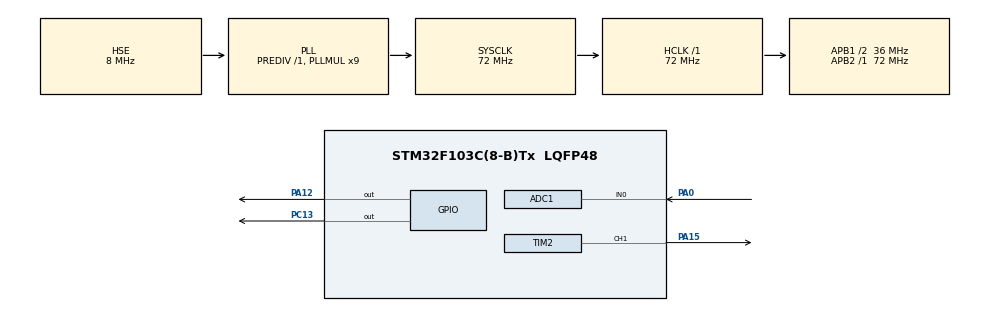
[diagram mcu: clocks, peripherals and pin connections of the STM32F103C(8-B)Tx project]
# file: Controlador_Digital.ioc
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ADC1.Channel-0\#ChannelRegularConversion=ADC_CHANNEL_0
ADC1.Channel-7\#ChannelRegularConversion=ADC_CHANNEL_0
ADC1.ContinuousConvMode=DISABLE
ADC1.DataAlign=ADC_DATAALIGN_RIGHT
ADC1.DiscontinuousConvMode=DISABLE
ADC1.EnableAnalogWatchDog=false
ADC1.EnableRegularConversion=ENABLE
ADC1.ExternalTrigConv=ADC_SOFTWARE_START
ADC1.InjNumberOfConversion=0
ADC1.NbrOfConversion=1
ADC1.NbrOfConversionFlag=1
ADC1.Rank-0\#ChannelRegularConversion=1
ADC1.Rank-7\#ChannelRegularConversion=1
ADC1.SamplingTime-0\#ChannelRegularConversion=ADC_SAMPLETIME_13CYCLES_5
ADC1.SamplingTime-7\#ChannelRegularConversion=ADC_SAMPLETIME_1CYCLE_5
ADC1.ScanConvMode=ADC_SCAN_DISABLE
ADC1.master=1
Mcu.Family=STM32F1
Mcu.Name=STM32F103C(8-B)Tx
Mcu.Package=LQFP48
NVIC.ADC1_2_IRQn=true\:0\:0\:false\:true\:true\:2\:true
NVIC.PriorityGroup=NVIC_PRIORITYGROUP_4
NVIC.TIM1_UP_IRQn=true\:0\:0\:true\:true\:true\:1\:true
NVIC.TIM3_IRQn=true\:0\:0\:false\:true\:true\:3\:true
PA0-WKUP.Signal=ADCx_IN0
PA12.Signal=GPIO_Output
PA13.Mode=Serial_Wire
PA13.Signal=SYS_JTMS-SWDIO
PA14.Mode=Serial_Wire
PA14.Signal=SYS_JTCK-SWCLK
PA15.Signal=S_TIM2_CH1_ETR
PC13-TAMPER-RTC.Signal=GPIO_Output
PD0-OSC_IN.Mode=HSE-External-Oscillator
PD0-OSC_IN.Signal=RCC_OSC_IN
PD1-OSC_OUT.Mode=HSE-External-Oscillator
PD1-OSC_OUT.Signal=RCC_OSC_OUT
ProjectManager.HeapSize=0x200
ProjectManager.StackSize=0x400
ProjectManager.TargetToolchain=TrueSTUDIO
RCC.ADCPresc=RCC_ADCPCLK2_DIV6
RCC.AHBFreq_Value=72000000
RCC.APB1CLKDivider=RCC_HCLK_DIV2
RCC.APB1Freq_Value=36000000
RCC.APB1TimFreq_Value=72000000
RCC.APB2Freq_Value=72000000
RCC.APB2TimFreq_Value=72000000
RCC.HCLKFreq_Value=72000000
RCC.PLLMUL=RCC_PLL_MUL9
RCC.PLLSourceVirtual=RCC_PLLSOURCE_HSE
RCC.SYSCLKFreq_VALUE=72000000
RCC.SYSCLKSource=RCC_SYSCLKSOURCE_PLLCLK
RCC.USBFreq_Value=72000000
SH.ADCx_IN0.0=ADC1_IN0,IN0
SH.S_TIM2_CH1_ETR.0=TIM2_CH1,PWM Generation1 CH1
TIM1.Period=22499
TIM1.Prescaler=15
TIM2.Channel-PWM\ Generation1\ CH1=TIM_CHANNEL_1
TIM2.Period=4499
TIM2.Prescaler=15
TIM2.Pulse-PWM\ Generation1\ CH1=400
TIM3.Period=28124
TIM3.Prescaler=255
TIM3.TIM_MasterOutputTrigger=TIM_TRGO_UPDATE
TIM3.TIM_MasterSlaveMode=TIM_MASTERSLAVEMODE_DISABLE
VP_TIM1_VS_ClockSourceINT.Mode=Internal
VP_TIM3_VS_ClockSourceINT.Mode=Internal
board=Controlador_Digital

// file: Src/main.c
/**
  ******************************************************************************
  * @file           : main.c
  * @brief          : Main program body
  ******************************************************************************
  ** This notice applies to any and all portions of this file
  * that are not between comment pairs USER CODE BEGIN and
  * USER CODE END. Other portions of this file, whether
  * inserted by the user or by software development tools
  * are owned by their respective copyright owners.
  *
  * COPYRIGHT(c) 2018 STMicroelectronics
  *
  * Redistribution and use in source and binary forms, with or without modification,
  * are permitted provided that the following conditions are met:
  *   1. Redistributions of source code must retain the above copyright notice,
  *      this list of conditions and the following disclaimer.
  *   2. Redistributions in binary form must reproduce the above copyright notice,
  *      this list of conditions and the following disclaimer in the documentation
  *      and/or other materials provided with the distribution.
  *   3. Neither the name of STMicroelectronics nor the names of its contributors
  *      may be used to endorse or promote products derived from this software
  *      without specific prior written permission.
  *
  * THIS SOFTWARE IS PROVIDED BY THE COPYRIGHT HOLDERS AND CONTRIBUTORS "AS IS"
  * AND ANY EXPRESS OR IMPLIED WARRANTIES, INCLUDING, BUT NOT LIMITED TO, THE
  * IMPLIED WARRANTIES OF MERCHANTABILITY AND FITNESS FOR A PARTICULAR PURPOSE ARE
  * DISCLAIMED. IN NO EVENT SHALL THE COPYRIGHT HOLDER OR CONTRIBUTORS BE LIABLE
  * FOR ANY DIRECT, INDIRECT, INCIDENTAL, SPECIAL, EXEMPLARY, OR CONSEQUENTIAL
  * DAMAGES (INCLUDING, BUT NOT LIMITED TO, PROCUREMENT OF SUBSTITUTE GOODS OR
  * SERVICES; LOSS OF USE, DATA, OR PROFITS; OR BUSINESS INTERRUPTION) HOWEVER
  * CAUSED AND ON ANY THEORY OF LIABILITY, WHETHER IN CONTRACT, STRICT LIABILITY,
  * OR TORT (INCLUDING NEGLIGENCE OR OTHERWISE) ARISING IN ANY WAY OUT OF THE USE
  * OF THIS SOFTWARE, EVEN IF ADVISED OF THE POSSIBILITY OF SUCH DAMAGE.
  *
  ******************************************************************************
  */
#include "main.h"
#include "stm32f1xx_hal.h"
#include <arm_math.h>
#include "dwt.h"

ADC_HandleTypeDef hadc1;

TIM_HandleTypeDef htim1;
TIM_HandleTypeDef htim2;
TIM_HandleTypeDef htim3;

/* USER CODE BEGIN PV */
/* Private variables ---------------------------------------------------------*/
GPIO_PinState state;
uint32_t counter = 0;

int32_t setValue = 1000;
volatile uint32_t rawValue;
//volatile int32_t x[3];
//volatile int32_t y[3];

/* USER CODE END PV */

void SystemClock_Config(void);
static void MX_GPIO_Init(void);
static void MX_TIM2_Init(void);
static void MX_TIM1_Init(void);
static void MX_TIM3_Init(void);
static void MX_ADC1_Init(void);
static void MX_NVIC_Init(void);

void HAL_TIM_MspPostInit(TIM_HandleTypeDef *htim);

/* USER CODE BEGIN PFP */
/* Private function prototypes -----------------------------------------------*/

/* USER CODE END PFP */

int main(void)
{

  /* MCU Configuration----------------------------------------------------------*/

  /* Reset of all peripherals, Initializes the Flash interface and the Systick. */
  HAL_Init();

  /* Configure the system clock */
  SystemClock_Config();

  /* Initialize all configured peripherals */
  MX_GPIO_Init();
  MX_TIM2_Init();
  MX_TIM1_Init();
  MX_TIM3_Init();
  MX_ADC1_Init();

  /* Initialize interrupts */
  MX_NVIC_Init();
  /* USER CODE BEGIN 2 */
  HAL_TIM_PWM_Start(&htim2, TIM_CHANNEL_1);
  HAL_TIM_Base_Start_IT(&htim1);
  HAL_TIM_Base_Start_IT(&htim3);
  HAL_ADC_Start_IT(&hadc1);

  DWT_Enable();

  /* USER CODE END 2 */

  /* Infinite loop */
  while (1)
  {

  }

}

void SystemClock_Config(void)
{

  RCC_OscInitTypeDef RCC_OscInitStruct;
  RCC_ClkInitTypeDef RCC_ClkInitStruct;
  RCC_PeriphCLKInitTypeDef PeriphClkInit;

    /**Initializes the CPU, AHB and APB busses clocks
    */
  RCC_OscInitStruct.OscillatorType = RCC_OSCILLATORTYPE_HSE;
  RCC_OscInitStruct.HSEState = RCC_HSE_ON;
  RCC_OscInitStruct.HSEPredivValue = RCC_HSE_PREDIV_DIV1;
  RCC_OscInitStruct.HSIState = RCC_HSI_ON;
  RCC_OscInitStruct.PLL.PLLState = RCC_PLL_ON;
  RCC_OscInitStruct.PLL.PLLSource = RCC_PLLSOURCE_HSE;
  RCC_OscInitStruct.PLL.PLLMUL = RCC_PLL_MUL9;
  if (HAL_RCC_OscConfig(&RCC_OscInitStruct) != HAL_OK)
  {
    _Error_Handler(__FILE__, __LINE__);
  }

    /**Initializes the CPU, AHB and APB busses clocks
    */
  RCC_ClkInitStruct.ClockType = RCC_CLOCKTYPE_HCLK|RCC_CLOCKTYPE_SYSCLK
                              |RCC_CLOCKTYPE_PCLK1|RCC_CLOCKTYPE_PCLK2;
  RCC_ClkInitStruct.SYSCLKSource = RCC_SYSCLKSOURCE_PLLCLK;
  RCC_ClkInitStruct.AHBCLKDivider = RCC_SYSCLK_DIV1;
  RCC_ClkInitStruct.APB1CLKDivider = RCC_HCLK_DIV2;
  RCC_ClkInitStruct.APB2CLKDivider = RCC_HCLK_DIV1;

  if (HAL_RCC_ClockConfig(&RCC_ClkInitStruct, FLASH_LATENCY_2) != HAL_OK)
  {
    _Error_Handler(__FILE__, __LINE__);
  }

  PeriphClkInit.PeriphClockSelection = RCC_PERIPHCLK_ADC;
  PeriphClkInit.AdcClockSelection = RCC_ADCPCLK2_DIV6;
  if (HAL_RCCEx_PeriphCLKConfig(&PeriphClkInit) != HAL_OK)
  {
    _Error_Handler(__FILE__, __LINE__);
  }

    /**Configure the Systick interrupt time
    */
  HAL_SYSTICK_Config(HAL_RCC_GetHCLKFreq()/1000);

    /**Configure the Systick
    */
  HAL_SYSTICK_CLKSourceConfig(SYSTICK_CLKSOURCE_HCLK);

  /* SysTick_IRQn interrupt configuration */
  HAL_NVIC_SetPriority(SysTick_IRQn, 0, 0);
}

/**
  * @brief NVIC Configuration.
  * @retval None
  */
static void MX_NVIC_Init(void)
{
  /* TIM1_UP_IRQn interrupt configuration */
  HAL_NVIC_SetPriority(TIM1_UP_IRQn, 0, 0);
  HAL_NVIC_EnableIRQ(TIM1_UP_IRQn);
  /* ADC1_2_IRQn interrupt configuration */
  HAL_NVIC_SetPriority(ADC1_2_IRQn, 0, 0);
  HAL_NVIC_EnableIRQ(ADC1_2_IRQn);
  /* TIM3_IRQn interrupt configuration */
  HAL_NVIC_SetPriority(TIM3_IRQn, 0, 0);
  HAL_NVIC_EnableIRQ(TIM3_IRQn);
}

/* ADC1 init function */
static void MX_ADC1_Init(void)
{

  ADC_ChannelConfTypeDef sConfig;

    /**Common config
    */
  hadc1.Instance = ADC1;
  hadc1.Init.ScanConvMode = ADC_SCAN_DISABLE;
  hadc1.Init.ContinuousConvMode = DISABLE;
  hadc1.Init.DiscontinuousConvMode = DISABLE;
  hadc1.Init.ExternalTrigConv = ADC_SOFTWARE_START;
  hadc1.Init.DataAlign = ADC_DATAALIGN_RIGHT;
  hadc1.Init.NbrOfConversion = 1;
  if (HAL_ADC_Init(&hadc1) != HAL_OK)
  {
    _Error_Handler(__FILE__, __LINE__);
  }

    /**Configure Regular Channel
    */
  sConfig.Channel = ADC_CHANNEL_0;
  sConfig.Rank = ADC_REGULAR_RANK_1;
  sConfig.SamplingTime = ADC_SAMPLETIME_13CYCLES_5;
  if (HAL_ADC_ConfigChannel(&hadc1, &sConfig) != HAL_OK)
  {
    _Error_Handler(__FILE__, __LINE__);
  }

}

/* Fs = Fcpu/((Prescaler+1)*(Period+1)) */

/* TIM1 init function */
/* Tempo de Amostragem*/
static void MX_TIM1_Init(void)
{

  TIM_ClockConfigTypeDef sClockSourceConfig;
  TIM_MasterConfigTypeDef sMasterConfig;

  htim1.Instance = TIM1;
  htim1.Init.Prescaler = 7;
  htim1.Init.CounterMode = TIM_COUNTERMODE_UP;
  htim1.Init.Period = 1799;
  htim1.Init.ClockDivision = TIM_CLOCKDIVISION_DIV1;
  htim1.Init.RepetitionCounter = 0;
  htim1.Init.AutoReloadPreload = TIM_AUTORELOAD_PRELOAD_DISABLE;
  if (HAL_TIM_Base_Init(&htim1) != HAL_OK)
  {
    _Error_Handler(__FILE__, __LINE__);
  }

  sClockSourceConfig.ClockSource = TIM_CLOCKSOURCE_INTERNAL;
  if (HAL_TIM_ConfigClockSource(&htim1, &sClockSourceConfig) != HAL_OK)
  {
    _Error_Handler(__FILE__, __LINE__);
  }

  sMasterConfig.MasterOutputTrigger = TIM_TRGO_RESET;
  sMasterConfig.MasterSlaveMode = TIM_MASTERSLAVEMODE_DISABLE;
  if (HAL_TIMEx_MasterConfigSynchronization(&htim1, &sMasterConfig) != HAL_OK)
  {
    _Error_Handler(__FILE__, __LINE__);
  }

}

/* TIM2 init function */
/* PWM Output*/
static void MX_TIM2_Init(void)
{

  TIM_MasterConfigTypeDef sMasterConfig;
  TIM_OC_InitTypeDef sConfigOC;

  htim2.Instance = TIM2;
  htim2.Init.Prescaler = 2;
  htim2.Init.CounterMode = TIM_COUNTERMODE_UP;
  htim2.Init.Period = 4499;
  htim2.Init.ClockDivision = TIM_CLOCKDIVISION_DIV1;
  htim2.Init.AutoReloadPreload = TIM_AUTORELOAD_PRELOAD_DISABLE;
  if (HAL_TIM_PWM_Init(&htim2) != HAL_OK)
  {
    _Error_Handler(__FILE__, __LINE__);
  }

  sMasterConfig.MasterOutputTrigger = TIM_TRGO_RESET;
  sMasterConfig.MasterSlaveMode = TIM_MASTERSLAVEMODE_DISABLE;
  if (HAL_TIMEx_MasterConfigSynchronization(&htim2, &sMasterConfig) != HAL_OK)
  {
    _Error_Handler(__FILE__, __LINE__);
  }

  sConfigOC.OCMode = TIM_OCMODE_PWM1;
  sConfigOC.Pulse = 400;
  sConfigOC.OCPolarity = TIM_OCPOLARITY_HIGH;
  sConfigOC.OCFastMode = TIM_OCFAST_DISABLE;
  if (HAL_TIM_PWM_ConfigChannel(&htim2, &sConfigOC, TIM_CHANNEL_1) != HAL_OK)
  {
    _Error_Handler(__FILE__, __LINE__);
  }

  HAL_TIM_MspPostInit(&htim2);

}

/* TIM3 init function */
/* Step Alternator */
static void MX_TIM3_Init(void)
{

  TIM_ClockConfigTypeDef sClockSourceConfig;
  TIM_MasterConfigTypeDef sMasterConfig;

  htim3.Instance = TIM3;
  htim3.Init.Prescaler = 257;
  htim3.Init.CounterMode = TIM_COUNTERMODE_UP;
  htim3.Init.Period = 48124;
  htim3.Init.ClockDivision = TIM_CLOCKDIVISION_DIV1;
  htim3.Init.AutoReloadPreload = TIM_AUTORELOAD_PRELOAD_DISABLE;
  if (HAL_TIM_Base_Init(&htim3) != HAL_OK)
  {
    _Error_Handler(__FILE__, __LINE__);
  }

  sClockSourceConfig.ClockSource = TIM_CLOCKSOURCE_INTERNAL;
  if (HAL_TIM_ConfigClockSource(&htim3, &sClockSourceConfig) != HAL_OK)
  {
    _Error_Handler(__FILE__, __LINE__);
  }

  sMasterConfig.MasterOutputTrigger = TIM_TRGO_UPDATE;
  sMasterConfig.MasterSlaveMode = TIM_MASTERSLAVEMODE_DISABLE;
  if (HAL_TIMEx_MasterConfigSynchronization(&htim3, &sMasterConfig) != HAL_OK)
  {
    _Error_Handler(__FILE__, __LINE__);
  }

}

/** Configure pins as
        * Analog
        * Input
        * Output
        * EVENT_OUT
        * EXTI
*/
static void MX_GPIO_Init(void)
{

  GPIO_InitTypeDef GPIO_InitStruct;

  /* GPIO Ports Clock Enable */
  __HAL_RCC_GPIOC_CLK_ENABLE();
  __HAL_RCC_GPIOD_CLK_ENABLE();
  __HAL_RCC_GPIOA_CLK_ENABLE();

  /*Configure GPIO pin Output Level */
  HAL_GPIO_WritePin(GPIOC, GPIO_PIN_13, GPIO_PIN_RESET);

  /*Configure GPIO pin Output Level */
  HAL_GPIO_WritePin(GPIOA, GPIO_PIN_12, GPIO_PIN_RESET);

  /*Configure GPIO pin : PC13 */
  GPIO_InitStruct.Pin = GPIO_PIN_13;
  GPIO_InitStruct.Mode = GPIO_MODE_OUTPUT_PP;
  GPIO_InitStruct.Speed = GPIO_SPEED_FREQ_LOW;
  HAL_GPIO_Init(GPIOC, &GPIO_InitStruct);

  /*Configure GPIO pin : PA12 */
  GPIO_InitStruct.Pin = GPIO_PIN_12;
  GPIO_InitStruct.Mode = GPIO_MODE_OUTPUT_PP;
  GPIO_InitStruct.Speed = GPIO_SPEED_FREQ_LOW;
  HAL_GPIO_Init(GPIOA, &GPIO_InitStruct);

}

/* USER CODE BEGIN 4 */

void HAL_TIM_PeriodElapsedCallback(TIM_HandleTypeDef *htim){
	if(htim->Instance == TIM1){
		HAL_GPIO_WritePin(GPIOA,GPIO_PIN_12,GPIO_PIN_SET);
		//HAL_GPIO_TogglePin(GPIOA,GPIO_PIN_12);
		HAL_ADC_Start_IT(&hadc1);
	}
	if(htim->Instance == TIM3){
		if(setValue == 1363)
			setValue = 2045;
		else
			setValue = 1363;
	}
	//HAL_GPIO_WritePin(GPIOA,GPIO_PIN_12,GPIO_PIN_SET);
}

float32_t A[3][3] = {{-416.67, 416.67, 0}, {-355.39, 333.77, 21.626}, {0, 0, -6666.7}};

float32_t B3 = 6666.7;

float32_t K[4] = {-0.99525, 2.106, -0.86308, 106.05};

float32_t L[3] = {13165, 115830, -2.5599};

float32_t c, e, enew, i, inew, k, x;
float32_t n1, n1new, n2, n2new, n3, n3new;
float32_t m1, m1new, m2, m2new, m3, m3new;

float32_t Ts = 0.0002;

int32_t xx;

void HAL_ADC_ConvCpltCallback(ADC_HandleTypeDef* hadc) {

	rawValue = HAL_ADC_GetValue(&hadc1);
	c = (4499*rawValue)/4095;

	enew = ((float32_t)setValue - c);
	inew = (Ts*e + i);

	n1new = (Ts*m1 + n1);
	n2new = (Ts*m2 + n2);
	n3new = (Ts*m3 + n3);

	k = (K[0]*n1new + K[1]*n2new + K[2]*n3new);
	x = (inew*K[3] - k);

	xx = x;

	if(x > 4499)
		x = 4499;
	else if (x < 0)
		x = 0;

	__HAL_TIM_SET_COMPARE(&htim2, TIM_CHANNEL_1, (uint32_t)x);

	m1 = ((c-n1new)*L[0] 	+ (n1new*A[0][0]) + (n2new*A[0][1]) + (n3new*A[0][2]));
	m2 = ((c-n1new)*L[1]	+ (n1new*A[1][0]) + (n2new*A[1][1]) + (n3new*A[1][2]));
	m3 = ((c-n1new)*L[2] 	+ (n1new*A[2][0]) + (n2new*A[2][1]) + (n3new*A[2][2])) + x*B3;

	e = enew;
	i = inew;
	n1 = n1new;
	n2 = n2new;
	n3 = n3new;

	HAL_GPIO_WritePin(GPIOA,GPIO_PIN_12,GPIO_PIN_RESET);

	/*	Lugar das raнzes
	rawValue = HAL_ADC_GetValue(&hadc1);
	x[0] = (int32_t)(setValue - ((4499*rawValue)/4095));
	y[0] = (2951*x[0] - 4241*x[1] + 1896*x[2] + 761*y[1] + 239*y[2])/1000;

	if(y[0] > 4499)
		y[0] = 4499;
	else if (y[0] < 0)
		y[0] = 0;

	__HAL_TIM_SET_COMPARE(&htim2, TIM_CHANNEL_1, (uint32_t)y[0]);

	y[2] = y[1];
	y[1] = y[0];
	x[2] = x[1];
	x[1] = x[0];
	*/

	//HAL_GPIO_WritePin(GPIOA,GPIO_PIN_12,GPIO_PIN_RESET);
	//HAL_GPIO_TogglePin(GPIOA,GPIO_PIN_12);
}

/* USER CODE END 4 */

void _Error_Handler(char *file, int line)
{
  while(1)
  {
  }
}

/************************ (C) COPYRIGHT STMicroelectronics *****END OF FILE****/
